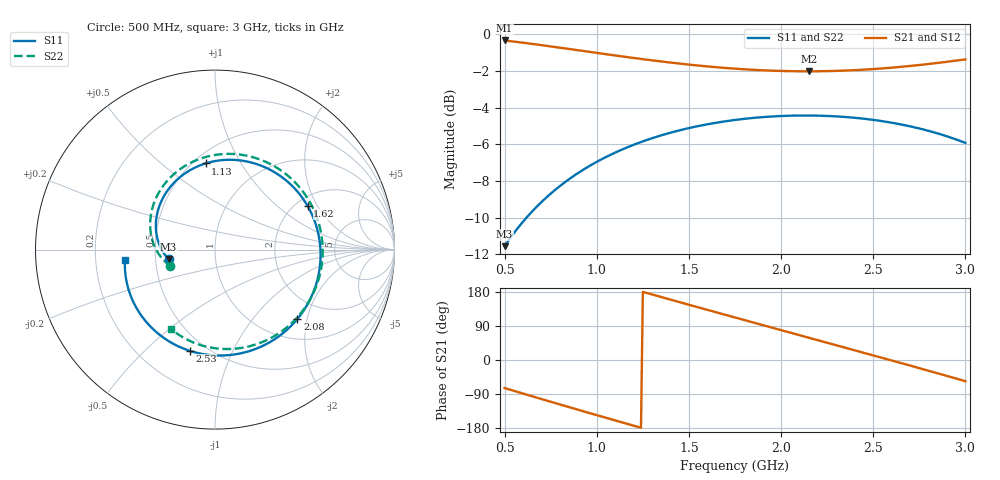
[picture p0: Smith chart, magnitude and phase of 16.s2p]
!freq-unit  param-type  data-format  keyword  impedance-ohms
# GHZ  S  RI  R  50
!Freq  ReS11  ImS11  ReS21  ImS21  ReS12  ImS12  ReS22  ImS22
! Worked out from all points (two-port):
!   251 points, 500 MHz to 3 GHz, reference 50 ohm
!   highest |S21| = -0.34 dB at 500 MHz (marker M1); lowest = -2.0 dB at 2.15 GHz (marker M2)
!   |S21| within 3 dB of the highest: start of sweep to end of sweep
!   lowest |S11| = -11.6 dB at 500 MHz (marker M3), VSWR 1.72, Z = 29.3 - j3.32 ohm
!   |S11| at or under -10 dB: start of sweep to 619.4 MHz
!   |S22| runs from -11.6 to -4.4 dB; largest |S21 - S12| = 0
!   S11 on the Smith chart (normalised r, x): 500 MHz: 0.59, -0.07; 1.13 GHz: 0.57, +0.72; 1.62 GHz: 2.30, +1.66; 2.08 GHz: 1.45, -1.75; 2.53 GHz: 0.41, -0.70; 3 GHz: 0.33, -0.05
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0.5  -0.2588 -0.0526  0.2637 -0.925  0.2637 -0.925  -0.248 -0.0909
0.6  -0.3074 0.0211  0.0227 -0.9481  0.0227 -0.9481  -0.3062 -0.0348
0.7  -0.329 0.1148  -0.2108 -0.9099  -0.2108 -0.9099  -0.346 0.0426
0.81  -0.3148 0.2282  -0.4416 -0.8045  -0.4416 -0.8045  -0.3613 0.1441
0.92  -0.2587 0.3371  -0.6298 -0.6447  -0.6298 -0.6447  -0.3426 0.2517
1.03  -0.1644 0.4264  -0.7647 -0.4458  -0.7647 -0.4458  -0.2894 0.354
1.13  -0.0528 0.48  -0.8359 -0.245  -0.8359 -0.245  -0.2139 0.4333
1.23  0.0741 0.5005  -0.8568 -0.038  -0.8568 -0.038  -0.1172 0.4925
1.34  0.2186 0.4807  -0.8239 0.183  -0.8239 0.183  0.00634 0.5283
1.47  0.3771 0.4006  -0.717 0.4171  -0.717 0.4171  0.1627 0.5259
1.62  0.5161 0.2429  -0.5197 0.6282  -0.5197 0.6282  0.3361 0.4613
1.75  0.5797 0.0678  -0.3043 0.7458  -0.3043 0.7458  0.4623 0.3569
1.91  0.5716 -0.1641  -0.0124 0.797  -0.0124 0.797  0.5668 0.1817
2.08  0.4592 -0.3862  0.2927 0.7367  0.2927 0.7367  0.5995 -0.0344
2.15  0.3861 -0.4596  0.4076 0.6794  0.4076 0.6794  0.5878 -0.1243
2.17  0.3628 -0.478  0.4386 0.6599  0.4386 0.6599  0.5817 -0.1495
2.35  0.12 -0.5824  0.6717 0.4272  0.6717 0.4272  0.4772 -0.3556
2.53  -0.1419 -0.5636  0.7969 0.1172  0.7969 0.1172  0.299 -0.499
2.59  -0.2226 -0.53  0.8099 0.00397  0.8099 0.00397  0.2289 -0.5279
2.79  -0.4306 -0.337  0.7388 -0.3751  0.7388 -0.3751  -0.0167 -0.5471
2.89  -0.4857 -0.2088  0.6369 -0.5477  0.6369 -0.5477  -0.1323 -0.5124
3  -0.5018 -0.0601  0.4774 -0.7079  0.4774 -0.7079  -0.2424 -0.4441
